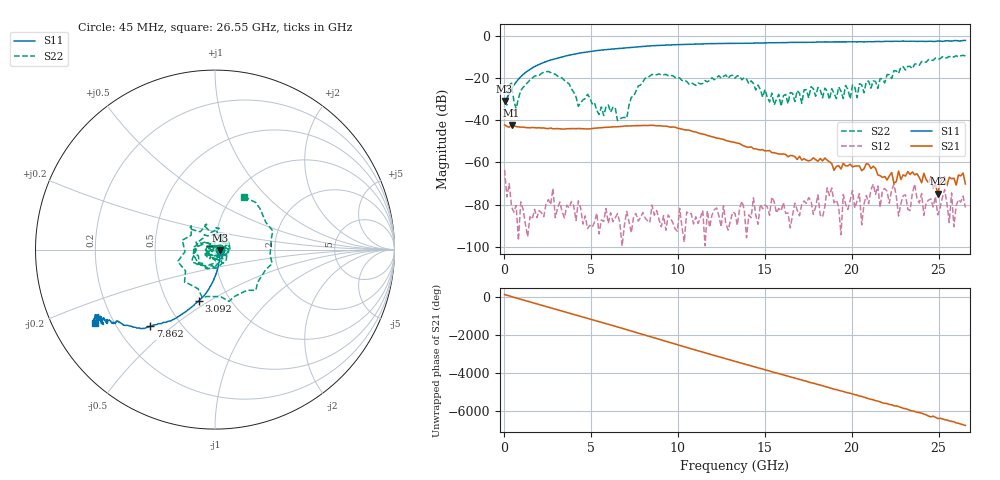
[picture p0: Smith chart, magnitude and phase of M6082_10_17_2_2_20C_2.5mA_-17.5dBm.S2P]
!  2-Port S-parameters saved by WinCal
! VAR MeasName=S-Parameters (CALIBRATED_DATA) read from VNA (C)
! VAR MeasDate=10/16/2015 3:46:30 PM
! VAR NAME=M6082_10_17_2_2_20C_2.5mA_-17.5dBm
! VAR FILENAME=M6082_10_17_2_2_20C_2.5mA_-17.5dBm.S2P
! VAR DATE=10/16/2015 3:46:30 PM
! VAR PHYS_PORTS=2,1
! VAR ObjTypeName=DATASET
! VAR IndexType=Frequency
# Hz S RI R 50
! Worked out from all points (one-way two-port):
!   201 points, 45 MHz to 26.55 GHz, reference 50 ohm
!   highest |S21| = -42.16 dB at 442.5 MHz (marker M1); lowest = -74.8 dB at 24.95 GHz (marker M2)
!   lowest |S11| = -30.8 dB at 45 MHz (marker M3), VSWR 1.06, Z = 52.9 - j0.467 ohm
!   |S11| at or under -10 dB: start of sweep to 3.322 GHz
!   |S22| runs from -40.2 to -9.2 dB; largest |S21 - S12| = 0.0084
!   S11 on the Smith chart (normalised r, x): 45 MHz: 1.06, -0.01; 3.092 GHz: 0.72, -0.45; 7.862 GHz: 0.34, -0.42; 26.55 GHz: 0.13, -0.28
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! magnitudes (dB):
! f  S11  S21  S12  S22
! 45 MHz  -30.8  -42.2  -63.5  -30.8
! 442.5 MHz  -25.2  -42.2  -80.9  -22.4
! 707.5 MHz  -21.9  -42.9  -80.4  -34.5
! 1.768 GHz  -14.5  -43.5  -82.2  -19.0
! 2.828 GHz  -11.1  -44.0  -72.2  -17.8
! 3.092 GHz  -10.5  -43.9  -81.5  -19.1
! 4.55 GHz  -7.9  -44.0  -89.2  -30.3
! 6.537 GHz  -6.0  -43.0  -84.2  -40.2
! 7.862 GHz  -5.0  -42.5  -86.1  -23.3
! 8.922 GHz  -4.5  -42.5  -87.0  -18.0
! 13.29 GHz  -3.5  -50.5  -84.1  -20.0
! 15.95 GHz  -3.2  -56.0  -82.9  -33.3
! 17.8 GHz  -3.0  -57.8  -84.6  -25.0
! 18.59 GHz  -2.8  -58.9  -72.0  -26.1
! 20.98 GHz  -2.7  -60.8  -79.5  -21.4
! 21.25 GHz  -2.8  -61.8  -70.3  -21.3
! 22.17 GHz  -2.6  -66.4  -79.3  -18.4
! 22.44 GHz  -2.5  -69.9  -70.3  -16.5
! 23.36 GHz  -2.5  -65.7  -82.8  -14.5
! 23.63 GHz  -2.5  -65.8  -70.3  -13.3
! 24.95 GHz  -2.4  -74.8  -84.8  -11.0
! 26.55 GHz  -2.1  -70.2  -81.4  -9.5
